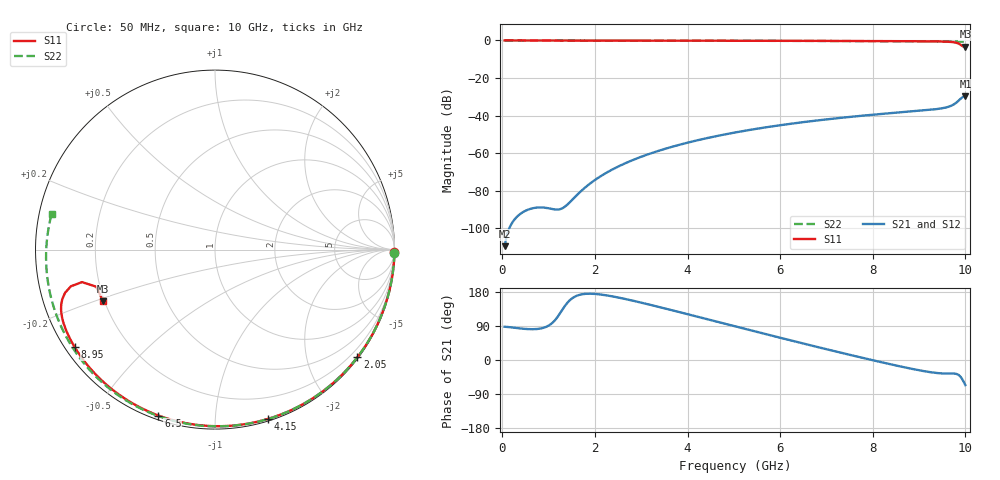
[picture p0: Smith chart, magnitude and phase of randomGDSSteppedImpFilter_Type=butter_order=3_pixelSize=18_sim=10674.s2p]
! freq	dB(S11)	phase(S11)	dB(S12)	phase(S12)
!  dB(S21)	phase(S21)	dB(S22)	phase(S22)
!S-par simulation data
#  GHz  S  DB  R 50
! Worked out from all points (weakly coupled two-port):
!   200 points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, 50 MHz to 10 GHz, reference 50 ohm
!   highest |S21| = -29.80 dB at 10 GHz (marker M1); lowest = -109.5 dB at 50 MHz (marker M2)
!   lowest |S11| = -3.3 dB at 10 GHz (marker M3), VSWR 5.40, Z = 9.69 - j10.6 ohm
!   |S11| at or under -10 dB: nowhere
!   |S22| runs from -0.6 to 0.0 dB; largest |S21 - S12| = 0
!   S11 on the Smith chart (normalised r, x): 50 MHz: open; 2.05 GHz: 0.03, -2.98; 4.15 GHz: 0.02, -1.36; 6.5 GHz: 0.02, -0.72; 8.95 GHz: 0.03, -0.31; 10 GHz: 0.19, -0.21
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0.05  -0.00 -0.9  -109.46 87.8  -109.46 87.8  -0.00 -1.1
0.85  -0.02 -15.6  -88.85 83.7  -88.85 83.7  -0.02 -18.2
1.7  -0.04 -30.9  -80.16 172.9  -80.16 172.9  -0.05 -36.0
1.75  -0.04 -31.8  -79.05 173.9  -79.05 173.9  -0.05 -37.0
2.05  -0.05 -37.1  -73.41 173.8  -73.41 173.8  -0.06 -43.2
2.35  -0.05 -42.4  -69.01 168.5  -69.01 168.5  -0.06 -49.3
2.65  -0.06 -47.6  -65.40 161.1  -65.40 161.1  -0.07 -55.3
3.4  -0.08 -60.3  -58.52 139.5  -58.52 139.5  -0.09 -70.0
4.15  -0.10 -72.6  -53.48 116.3  -53.48 116.3  -0.12 -84.3
5.05  -0.13 -86.9  -48.86 88.2  -48.86 88.2  -0.16 -100.9
5.75  -0.16 -97.6  -46.00 66.4  -46.00 66.4  -0.19 -113.5
6.5  -0.21 -108.8  -43.45 43.5  -43.45 43.5  -0.24 -126.8
6.7  -0.22 -111.8  -42.85 37.4  -42.85 37.4  -0.26 -130.3
7.55  -0.28 -124.2  -40.57 12.3  -40.57 12.3  -0.33 -145.4
8.35  -0.35 -135.9  -38.75 -10.4  -38.75 -10.4  -0.41 -159.9
8.95  -0.43 -145.1  -37.51 -25.9  -37.51 -25.9  -0.48 -171.2
9.5  -0.58 -155.0  -36.07 -35.4  -36.07 -35.4  -0.55 178.0
9.75  -0.97 -162.0  -34.03 -35.7  -34.03 -35.7  -0.58 172.9
9.85  -1.64 -165.7  -32.11 -39.0  -32.11 -39.0  -0.60 170.8
9.9  -2.35 -166.3  -30.93 -44.7  -30.93 -44.7  -0.60 169.8
9.95  -3.19 -162.6  -30.01 -54.4  -30.01 -54.4  -0.61 168.8
10  -3.26 -155.2  -29.80 -66.4  -29.80 -66.4  -0.61 167.7
